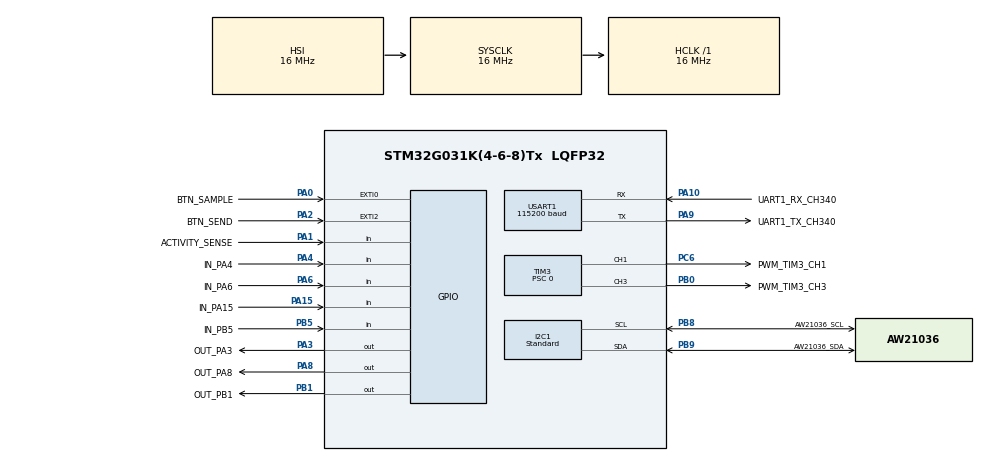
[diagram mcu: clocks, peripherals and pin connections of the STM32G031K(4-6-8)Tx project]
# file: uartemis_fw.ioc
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I2C1.AddressingMode=I2C_ADDRESSINGMODE_7BIT
I2C1.Analog_Filter=I2C_ANALOGFILTER_ENABLE
I2C1.CustomTiming=Disabled
I2C1.DualAddressMode=I2C_DUALADDRESS_DISABLE
I2C1.GeneralCallMode=I2C_GENERALCALL_DISABLE
I2C1.I2C_Coeff_DF=0
I2C1.I2C_Fall_Time=100
I2C1.I2C_Rise_Time=100
I2C1.I2C_Speed_Mode=I2C_Standard
I2C1.NoStretchMode=I2C_NOSTRETCH_DISABLE
I2C1.OwnAddress=0
I2C1.Speed=100
I2C1.Timing=0x00503D58
Mcu.Family=STM32G0
Mcu.Name=STM32G031K(4-6-8)Tx
Mcu.Package=LQFP32
NVIC.EXTI0_1_IRQn=true\:0\:0\:false\:false\:true\:true\:true\:true
NVIC.EXTI2_3_IRQn=true\:0\:0\:false\:false\:true\:true\:true\:true
NVIC.USART1_IRQn=true\:0\:0\:false\:false\:true\:true\:true\:true
PA0.GPIO_Label=BTN_SAMPLE
PA0.GPIO_ModeDefaultEXTI=GPIO_MODE_IT_FALLING
PA0.GPIO_PuPd=GPIO_PULLUP
PA0.Signal=GPXTI0
PA1.GPIO_Label=ACTIVITY_SENSE
PA1.Signal=GPIO_Input
PA10.GPIO_Label=UART1_RX_CH340
PA10.Mode=Asynchronous
PA10.Signal=USART1_RX
PA13.GPIO_Label=SWDIO
PA13.Mode=Serial_Wire
PA13.Signal=SYS_SWDIO
PA14-BOOT0.Mode=Serial_Wire
PA14-BOOT0.Signal=SYS_SWCLK
PA15.GPIO_Label=IN_PA15
PA15.GPIO_PuPd=GPIO_PULLUP
PA15.Signal=GPIO_Input
PA2.GPIO_Label=BTN_SEND
PA2.GPIO_ModeDefaultEXTI=GPIO_MODE_IT_FALLING
PA2.GPIO_PuPd=GPIO_PULLUP
PA2.Signal=GPXTI2
PA3.GPIO_Label=OUT_PA3
PA3.Signal=GPIO_Output
PA4.GPIO_Label=IN_PA4
PA4.GPIO_PuPd=GPIO_PULLUP
PA4.Signal=GPIO_Input
PA5.GPIO_Label=ADC_PA5
PA5.Signal=ADC1_IN5
PA6.GPIO_Label=IN_PA6
PA6.GPIO_PuPd=GPIO_PULLUP
PA6.Signal=GPIO_Input
PA7.GPIO_Label=ADC_PA7
PA7.Signal=ADC1_IN7
PA8.GPIO_Label=OUT_PA8
PA8.Signal=GPIO_Output
PA9.GPIO_Label=UART1_TX_CH340
PA9.Mode=Asynchronous
PA9.Signal=USART1_TX
PB0.GPIO_Label=PWM_TIM3_CH3
PB0.Signal=S_TIM3_CH3
PB1.GPIO_Label=OUT_PB1
PB1.Signal=GPIO_Output
PB5.GPIO_Label=IN_PB5
PB5.GPIO_PuPd=GPIO_PULLUP
PB5.Signal=GPIO_Input
PB8.GPIO_Label=AW21036_SCL
PB8.Mode=I2C
PB8.Signal=I2C1_SCL
PB9.GPIO_Label=AW21036_SDA
PB9.Mode=I2C
PB9.Signal=I2C1_SDA
PC6.GPIO_Label=PWM_TIM3_CH1
PC6.Signal=S_TIM3_CH1
ProjectManager.HeapSize=0x200
ProjectManager.StackSize=0x400
ProjectManager.TargetToolchain=Makefile
RCC.AHBFreq_Value=16000000
RCC.CortexFreq_Value=16000000
RCC.EXTERNAL_CLOCK_VALUE=12288000
RCC.HCLKFreq_Value=16000000
RCC.HSE_VALUE=8000000
RCC.HSI_VALUE=16000000
RCC.LSE_VALUE=32768
RCC.SYSCLKFreq_VALUE=16000000
RCC.VCOOutputFreq_Value=128000000
SH.S_TIM3_CH1.0=TIM3_CH1,PWM Generation1 CH1
SH.S_TIM3_CH3.0=TIM3_CH3,PWM Generation3 CH3
TIM3.AutoReloadPreload=TIM_AUTORELOAD_PRELOAD_DISABLE
TIM3.Channel-PWM\ Generation1\ CH1=TIM_CHANNEL_1
TIM3.Channel-PWM\ Generation3\ CH3=TIM_CHANNEL_3
TIM3.ClearInputSource=TIM_CLEARINPUTSOURCE_NONE
TIM3.ClockDivision=TIM_CLOCKDIVISION_DIV1
TIM3.CounterMode=TIM_COUNTERMODE_UP
TIM3.OC1Preload_PWM=ENABLE
TIM3.OC3Preload_PWM=ENABLE
TIM3.OCFastMode_PWM-PWM\ Generation1\ CH1=TIM_OCFAST_DISABLE
TIM3.OCFastMode_PWM-PWM\ Generation3\ CH3=TIM_OCFAST_DISABLE
TIM3.OCMode_PWM-PWM\ Generation1\ CH1=TIM_OCMODE_PWM1
TIM3.OCMode_PWM-PWM\ Generation3\ CH3=TIM_OCMODE_PWM1
TIM3.OCPolarity_1=TIM_OCPOLARITY_HIGH
TIM3.OCPolarity_3=TIM_OCPOLARITY_HIGH
TIM3.Period=65535
TIM3.Prescaler=0
TIM3.Pulse-PWM\ Generation1\ CH1=0
TIM3.Pulse-PWM\ Generation3\ CH3=0
TIM3.TIM_MasterOutputTrigger=TIM_TRGO_RESET
TIM3.TIM_MasterSlaveMode=TIM_MASTERSLAVEMODE_DISABLE
USART1.AutoBaudRateEnableParam=UART_ADVFEATURE_AUTOBAUDRATE_DISABLE
USART1.BaudRate=115200
USART1.ClockPrescaler=PRESCALER_DIV1
USART1.DMADisableonRxErrorParam=ADVFEATURE_DMA_ENABLEONRXERROR
USART1.DataInvertParam=ADVFEATURE_DATAINV_DISABLE
USART1.FIFOMode=FIFOMODE_DISABLE
USART1.MSBFirstParam=ADVFEATURE_MSBFIRST_DISABLE
USART1.Mode=MODE_TX_RX
USART1.OneBitSampling=UART_ONE_BIT_SAMPLE_DISABLE
USART1.OverSampling=UART_OVERSAMPLING_16
USART1.OverrunDisableParam=ADVFEATURE_OVERRUN_ENABLE
USART1.Parity=PARITY_NONE
USART1.RXFIFOThreshold=RXFIFO_THRESHOLD_1EIGHTHFULL
USART1.RxPinLevelInvertParam=ADVFEATURE_RXINV_DISABLE
USART1.StopBits=STOPBITS_1
USART1.SwapParam=ADVFEATURE_SWAP_DISABLE
USART1.TXFIFOThreshold=TXFIFO_THRESHOLD_1EIGHTHFULL
USART1.TxPinLevelInvertParam=ADVFEATURE_TXINV_DISABLE
USART1.VirtualMode-Asynchronous=VM_ASYNC
USART1.WordLength=WORDLENGTH_8B
board=custom

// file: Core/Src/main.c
/* USER CODE BEGIN Header */
/**
  ******************************************************************************
  * @file           : main.c
  * @brief          : Main program body
  ******************************************************************************
  * @attention
  *
  * Copyright (c) 2026 STMicroelectronics.
  * All rights reserved.
  *
  * This software is licensed under terms that can be found in the LICENSE file
  * in the root directory of this software component.
  * If no LICENSE file comes with this software, it is provided AS-IS.
  *
  ******************************************************************************
  */
/* USER CODE END Header */
#include "main.h"

/* USER CODE BEGIN Includes */
#include "aw21036.h"
#include <string.h>
/* USER CODE END Includes */

I2C_HandleTypeDef hi2c1;

TIM_HandleTypeDef htim3;

UART_HandleTypeDef huart1;

/* USER CODE BEGIN PV */
static uint8_t uart_rx_byte;
static uint8_t previous_was_cr;
static volatile uint32_t enter_count;
static uint32_t speed = 30;
const char* birds_arent_real = \
    "          __  __   ___    ____  ______               _\r\n"
    "         / / / /  /   |  / __ \\/_  __/___  ____ ___ (_)____\r\n"
    "        / / / /  / /| | / /_/ / / / / _ \\/ __ `__ \\/ / ___/\r\n"
    "       / /_/ /  / ___ |/ _, _/ / / /  __/ / / / / / (__  )\r\n"
    "       \\____/  /_/  |_/_/ |_| /_/  \\___/_/ /_/ /_/_/____/\r\n"
    "                           ______________________\r\n"
    "                      ____/_____________________/|\r\n"
    "                     /_________________________/ |\r\n"
    "                     |                         | |\r\n"
    "                     |  CCTV   .               | |\r\n"
    "                     |                  _______| |\r\n"
    "                     |_________________|  ((O))|/\r\n"
    "                              \\________|_______|\r\n"
    "                                 /    \\\r\n"
    "                      _..---.._.'      |\r\n"
    "                   .-'                 |\r\n"
    "                 .'       .------.     |\r\n"
    "                /       .'        \\    |\r\n"
    "               /       /    __     |   |\r\n"
    "              ;       / _.-'  /   /    ;\r\n"
    "              |      /-'   .-'  .'    /\r\n"
    "              |    .'   .-'   .'    .'\r\n"
    "              \\_.-'  .-'   .-'   _.'\r\n"
    "            .-'   .-'  _.-'__..-'\r\n"
    "         .-'   .-'_.--'      ||   ||\r\n"
    "      .-'  _.-'             ||   ||\r\n"
    "     '----'              ___||   ||___\r\n"
    "                        / / /     \\ \\ \\\r\n"
    "                 =========================\r\n"
    "\r\n"
    "              B I R D S  A R E N ' T  R E A L\r\n";
/* USER CODE END PV */

void SystemClock_Config(void);
static void MX_GPIO_Init(void);
static void MX_I2C1_Init(void);
static void MX_TIM3_Init(void);
static void MX_USART1_UART_Init(void);

/* USER CODE BEGIN 0 */
static void uart_say(const char *s)
{
  HAL_UART_Transmit(&huart1, (uint8_t *)s, (uint16_t)strlen(s), strlen(s));
}

/* Simple colour wheel (pos 0..255 -> RGB) for the chase demo. */
static void wheel(uint8_t pos, uint8_t *r, uint8_t *g, uint8_t *b)
{
  if (pos < 85)        { *r = 255 - pos * 3; *g = pos * 3;       *b = 0; }
  else if (pos < 170)  { pos -= 85;  *r = 0; *g = 255 - pos * 3; *b = pos * 3; }
  else                 { pos -= 170; *r = pos * 3; *g = 0;       *b = 255 - pos * 3; }
}
/* USER CODE END 0 */

int main(void)
{

  /* MCU Configuration--------------------------------------------------------*/

  /* Reset of all peripherals, Initializes the Flash interface and the Systick. */
  HAL_Init();

  /* Configure the system clock */
  SystemClock_Config();

  /* Initialize all configured peripherals */
  MX_GPIO_Init();
  MX_I2C1_Init();
  MX_TIM3_Init();
  MX_USART1_UART_Init();
  /* USER CODE BEGIN 2 */
  /* PA3 is an enable the original firmware holds HIGH (serial/CH340, and likely
   * a peripheral/LED power rail). CubeMX leaves it at reset (LOW), which kills
   * the serial path. */
  HAL_GPIO_WritePin(GPIOA, OUT_PA3_Pin, GPIO_PIN_SET);
  HAL_Delay(10);

  if (HAL_UART_Receive_IT(&huart1, &uart_rx_byte, 1) != HAL_OK) {
    Error_Handler();
  }

  /* Initialise the LED driver. */
  if (aw21036_init(&hi2c1, 0x80) != HAL_OK) {
    Error_Handler();
  }

  /* Identity test: 6 slots = R G B Y C M, extra LEDs = dim white. */
  aw21036_set(0, 255,   0,   0);
  aw21036_set(1,   0, 255,   0);
  aw21036_set(2,   0,   0, 255);
  aw21036_set(3, 255, 255,   0);
  aw21036_set(4,   0, 255, 255);
  aw21036_set(5, 255,   0, 255);
  for (uint8_t e = 6; e < BADGE_NLED; e++) aw21036_set(e, 40, 40, 40);
  aw21036_show(&hi2c1);
  HAL_Delay(2000);                 /* hold 2 s, then animate */
  /* USER CODE END 2 */

  /* Infinite loop */
  /* USER CODE BEGIN WHILE */
  /* USER CODE BEGIN WHILE */
  uint8_t phase = 0;
  uint32_t handled_enters = 0;

  const uint8_t led_order[] = {0, 1, 2, 3, 4, 5, 9, 8, 7, 6};
  const uint8_t num_leds = sizeof(led_order) / sizeof(led_order[0]);

  while (1)
  {
    /* USER CODE END WHILE */

    /* USER CODE BEGIN 3 */
    if (handled_enters != enter_count) {
      handled_enters++;
      uart_say(birds_arent_real);
    }

    for (uint8_t i = 0; i < num_leds; i++) {
      uint8_t r, g, b;
      wheel((uint8_t)(phase + i * 25), &r, &g, &b);
      aw21036_set(led_order[i], r, g, b);
    }

    aw21036_show(&hi2c1);
    phase += 3;
    HAL_Delay(speed);
  }
  /* USER CODE END 3 */
}

void SystemClock_Config(void)
{
  RCC_OscInitTypeDef RCC_OscInitStruct = {0};
  RCC_ClkInitTypeDef RCC_ClkInitStruct = {0};

  /** Configure the main internal regulator output voltage
  */
  HAL_PWREx_ControlVoltageScaling(PWR_REGULATOR_VOLTAGE_SCALE1);

  /** Initializes the RCC Oscillators according to the specified parameters
  * in the RCC_OscInitTypeDef structure.
  */
  RCC_OscInitStruct.OscillatorType = RCC_OSCILLATORTYPE_HSI;
  RCC_OscInitStruct.HSIState = RCC_HSI_ON;
  RCC_OscInitStruct.HSIDiv = RCC_HSI_DIV1;
  RCC_OscInitStruct.HSICalibrationValue = RCC_HSICALIBRATION_DEFAULT;
  RCC_OscInitStruct.PLL.PLLState = RCC_PLL_NONE;
  if (HAL_RCC_OscConfig(&RCC_OscInitStruct) != HAL_OK)
  {
    Error_Handler();
  }

  /** Initializes the CPU, AHB and APB buses clocks
  */
  RCC_ClkInitStruct.ClockType = RCC_CLOCKTYPE_HCLK|RCC_CLOCKTYPE_SYSCLK
                              |RCC_CLOCKTYPE_PCLK1;
  RCC_ClkInitStruct.SYSCLKSource = RCC_SYSCLKSOURCE_HSI;
  RCC_ClkInitStruct.AHBCLKDivider = RCC_SYSCLK_DIV1;
  RCC_ClkInitStruct.APB1CLKDivider = RCC_HCLK_DIV1;

  if (HAL_RCC_ClockConfig(&RCC_ClkInitStruct, FLASH_LATENCY_0) != HAL_OK)
  {
    Error_Handler();
  }
}

static void MX_I2C1_Init(void)
{

  hi2c1.Instance = I2C1;
  hi2c1.Init.Timing = 0x00503D58;
  hi2c1.Init.OwnAddress1 = 0;
  hi2c1.Init.AddressingMode = I2C_ADDRESSINGMODE_7BIT;
  hi2c1.Init.DualAddressMode = I2C_DUALADDRESS_DISABLE;
  hi2c1.Init.OwnAddress2 = 0;
  hi2c1.Init.OwnAddress2Masks = I2C_OA2_NOMASK;
  hi2c1.Init.GeneralCallMode = I2C_GENERALCALL_DISABLE;
  hi2c1.Init.NoStretchMode = I2C_NOSTRETCH_DISABLE;
  if (HAL_I2C_Init(&hi2c1) != HAL_OK)
  {
    Error_Handler();
  }

  /** Configure Analogue filter
  */
  if (HAL_I2CEx_ConfigAnalogFilter(&hi2c1, I2C_ANALOGFILTER_ENABLE) != HAL_OK)
  {
    Error_Handler();
  }

  /** Configure Digital filter
  */
  if (HAL_I2CEx_ConfigDigitalFilter(&hi2c1, 0) != HAL_OK)
  {
    Error_Handler();
  }

}

static void MX_TIM3_Init(void)
{

  TIM_MasterConfigTypeDef sMasterConfig = {0};
  TIM_OC_InitTypeDef sConfigOC = {0};

  htim3.Instance = TIM3;
  htim3.Init.Prescaler = 0;
  htim3.Init.CounterMode = TIM_COUNTERMODE_UP;
  htim3.Init.Period = 65535;
  htim3.Init.ClockDivision = TIM_CLOCKDIVISION_DIV1;
  htim3.Init.AutoReloadPreload = TIM_AUTORELOAD_PRELOAD_DISABLE;
  if (HAL_TIM_PWM_Init(&htim3) != HAL_OK)
  {
    Error_Handler();
  }
  sMasterConfig.MasterOutputTrigger = TIM_TRGO_RESET;
  sMasterConfig.MasterSlaveMode = TIM_MASTERSLAVEMODE_DISABLE;
  if (HAL_TIMEx_MasterConfigSynchronization(&htim3, &sMasterConfig) != HAL_OK)
  {
    Error_Handler();
  }
  sConfigOC.OCMode = TIM_OCMODE_PWM1;
  sConfigOC.Pulse = 0;
  sConfigOC.OCPolarity = TIM_OCPOLARITY_HIGH;
  sConfigOC.OCFastMode = TIM_OCFAST_DISABLE;
  if (HAL_TIM_PWM_ConfigChannel(&htim3, &sConfigOC, TIM_CHANNEL_1) != HAL_OK)
  {
    Error_Handler();
  }
  if (HAL_TIM_PWM_ConfigChannel(&htim3, &sConfigOC, TIM_CHANNEL_3) != HAL_OK)
  {
    Error_Handler();
  }
  HAL_TIM_MspPostInit(&htim3);

}

static void MX_USART1_UART_Init(void)
{

  huart1.Instance = USART1;
  huart1.Init.BaudRate = 115200;
  huart1.Init.WordLength = UART_WORDLENGTH_8B;
  huart1.Init.StopBits = UART_STOPBITS_1;
  huart1.Init.Parity = UART_PARITY_NONE;
  huart1.Init.Mode = UART_MODE_TX_RX;
  huart1.Init.HwFlowCtl = UART_HWCONTROL_NONE;
  huart1.Init.OverSampling = UART_OVERSAMPLING_16;
  huart1.Init.OneBitSampling = UART_ONE_BIT_SAMPLE_DISABLE;
  huart1.Init.ClockPrescaler = UART_PRESCALER_DIV1;
  huart1.AdvancedInit.AdvFeatureInit = UART_ADVFEATURE_NO_INIT;
  if (HAL_UART_Init(&huart1) != HAL_OK)
  {
    Error_Handler();
  }
  if (HAL_UARTEx_SetTxFifoThreshold(&huart1, UART_TXFIFO_THRESHOLD_1_8) != HAL_OK)
  {
    Error_Handler();
  }
  if (HAL_UARTEx_SetRxFifoThreshold(&huart1, UART_RXFIFO_THRESHOLD_1_8) != HAL_OK)
  {
    Error_Handler();
  }
  if (HAL_UARTEx_DisableFifoMode(&huart1) != HAL_OK)
  {
    Error_Handler();
  }

}

static void MX_GPIO_Init(void)
{
  GPIO_InitTypeDef GPIO_InitStruct = {0};

  /* GPIO Ports Clock Enable */
  __HAL_RCC_GPIOB_CLK_ENABLE();
  __HAL_RCC_GPIOA_CLK_ENABLE();
  __HAL_RCC_GPIOC_CLK_ENABLE();

  /*Configure GPIO pin Output Level */
  HAL_GPIO_WritePin(GPIOA, OUT_PA3_Pin|OUT_PA8_Pin, GPIO_PIN_RESET);

  /*Configure GPIO pin Output Level */
  HAL_GPIO_WritePin(OUT_PB1_GPIO_Port, OUT_PB1_Pin, GPIO_PIN_RESET);

  /*Configure GPIO pins : BTN_SAMPLE_Pin BTN_SEND_Pin */
  GPIO_InitStruct.Pin = BTN_SAMPLE_Pin|BTN_SEND_Pin;
  GPIO_InitStruct.Mode = GPIO_MODE_IT_FALLING;
  GPIO_InitStruct.Pull = GPIO_PULLUP;
  HAL_GPIO_Init(GPIOA, &GPIO_InitStruct);

  /*Configure GPIO pin : ACTIVITY_SENSE_Pin */
  GPIO_InitStruct.Pin = ACTIVITY_SENSE_Pin;
  GPIO_InitStruct.Mode = GPIO_MODE_INPUT;
  GPIO_InitStruct.Pull = GPIO_NOPULL;
  HAL_GPIO_Init(ACTIVITY_SENSE_GPIO_Port, &GPIO_InitStruct);

  /*Configure GPIO pins : OUT_PA3_Pin OUT_PA8_Pin */
  GPIO_InitStruct.Pin = OUT_PA3_Pin|OUT_PA8_Pin;
  GPIO_InitStruct.Mode = GPIO_MODE_OUTPUT_PP;
  GPIO_InitStruct.Pull = GPIO_NOPULL;
  GPIO_InitStruct.Speed = GPIO_SPEED_FREQ_LOW;
  HAL_GPIO_Init(GPIOA, &GPIO_InitStruct);

  /*Configure GPIO pins : IN_PA4_Pin IN_PA6_Pin IN_PA15_Pin */
  GPIO_InitStruct.Pin = IN_PA4_Pin|IN_PA6_Pin|IN_PA15_Pin;
  GPIO_InitStruct.Mode = GPIO_MODE_INPUT;
  GPIO_InitStruct.Pull = GPIO_PULLUP;
  HAL_GPIO_Init(GPIOA, &GPIO_InitStruct);

  /*Configure GPIO pins : ADC_PA5_Pin ADC_PA7_Pin */
  GPIO_InitStruct.Pin = ADC_PA5_Pin|ADC_PA7_Pin;
  GPIO_InitStruct.Mode = GPIO_MODE_ANALOG;
  GPIO_InitStruct.Pull = GPIO_NOPULL;
  HAL_GPIO_Init(GPIOA, &GPIO_InitStruct);

  /*Configure GPIO pin : OUT_PB1_Pin */
  GPIO_InitStruct.Pin = OUT_PB1_Pin;
  GPIO_InitStruct.Mode = GPIO_MODE_OUTPUT_PP;
  GPIO_InitStruct.Pull = GPIO_NOPULL;
  GPIO_InitStruct.Speed = GPIO_SPEED_FREQ_LOW;
  HAL_GPIO_Init(OUT_PB1_GPIO_Port, &GPIO_InitStruct);

  /*Configure GPIO pin : IN_PB5_Pin */
  GPIO_InitStruct.Pin = IN_PB5_Pin;
  GPIO_InitStruct.Mode = GPIO_MODE_INPUT;
  GPIO_InitStruct.Pull = GPIO_PULLUP;
  HAL_GPIO_Init(IN_PB5_GPIO_Port, &GPIO_InitStruct);

  /* EXTI interrupt init*/
  HAL_NVIC_SetPriority(EXTI0_1_IRQn, 0, 0);
  HAL_NVIC_EnableIRQ(EXTI0_1_IRQn);

  HAL_NVIC_SetPriority(EXTI2_3_IRQn, 0, 0);
  HAL_NVIC_EnableIRQ(EXTI2_3_IRQn);

}

/* USER CODE BEGIN 4 */
void HAL_UART_RxCpltCallback(UART_HandleTypeDef *huart)
{
  if (huart->Instance != USART1) {
    return;
  }

  uint8_t ch = uart_rx_byte;

  /* Accept CR, LF, or CRLF; count CRLF as one Enter. */
  if (ch == '\r' || (ch == '\n' && !previous_was_cr)) {
    enter_count++;
  }
  previous_was_cr = (ch == '\r');

  /* Each receive request handles one byte; arm the next one. */
  (void)HAL_UART_Receive_IT(huart, &uart_rx_byte, 1);
}

void HAL_UART_ErrorCallback(UART_HandleTypeDef *huart)
{
  if (huart->Instance == USART1) {
    /* Restart reception if HAL aborted it, e.g. after overrun.
       If reception is still active, this simply returns HAL_BUSY. */
    (void)HAL_UART_Receive_IT(huart, &uart_rx_byte, 1);
  }
}

void HAL_GPIO_EXTI_Falling_Callback(uint16_t GPIO_Pin)
{
  switch (GPIO_Pin) {
    case BTN_SAMPLE_Pin:
      if(speed >= 5) {
        speed -= 5;
      }
      break;
    case BTN_SEND_Pin:
      speed += 5;
      break;
    default:
      break;
  }
}
/* USER CODE END 4 */

void Error_Handler(void)
{
  __disable_irq();
  while (1)
  {
  }
}
